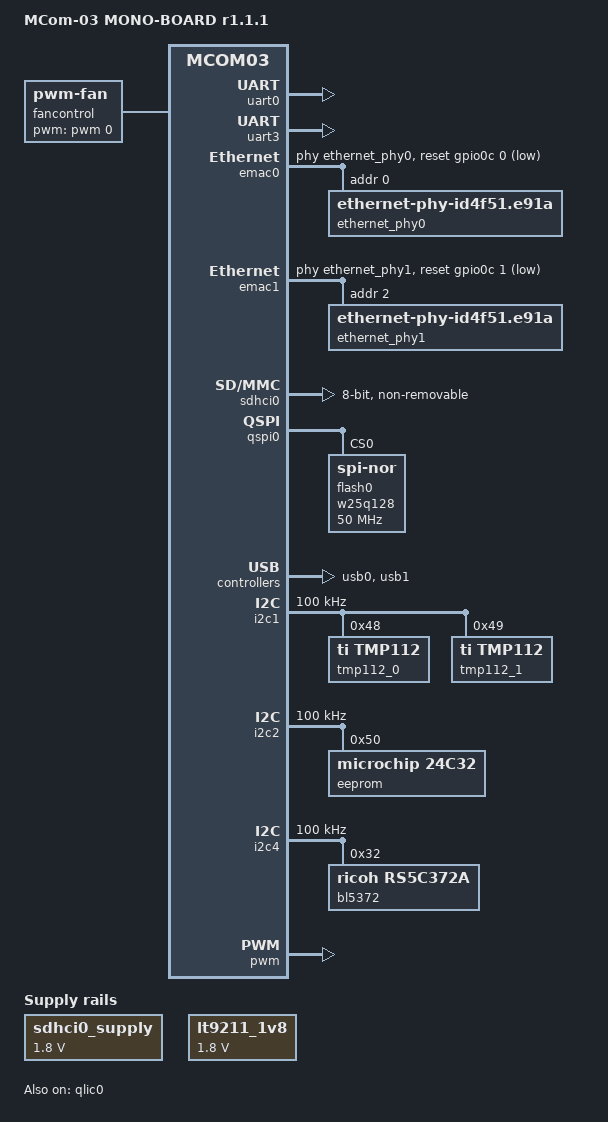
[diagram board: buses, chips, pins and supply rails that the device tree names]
// SPDX-License-Identifier: GPL-2.0+
/*
 * Copyright 2023 RnD Center "ELVEES", JSC
 */

/dts-v1/;

#include <dt-bindings/gpio/gpio.h>
#include <dt-bindings/thermal/thermal.h>

#include "mcom03.dtsi"

/ {
	model = "MCom-03 MONO-BOARD r1.1.1";
	compatible = "elvees,monoboard-r1.1.1",
		     "elvees,monoboard",
		     "elvees,mcom03";

	chosen {
		stdout-path = "serial0:115200n8";
	};

	sdhci0_supply: regulator@00 {
		compatible = "regulator-fixed";
		regulator-name = "sdhci0-supply";
		regulator-min-microvolt = <1800000>;
		regulator-max-microvolt = <1800000>;
		regulator-always-on;
	};

	lt9211_1v8: regulator@01 {
		compatible = "regulator-fixed";
		regulator-name = "rgb-lvds-vcc-1.8v";
		regulator-min-microvolt = <1800000>;
		regulator-max-microvolt = <1800000>;
		regulator-always-on;
	};

	fancontrol: pwm-fan {
		compatible = "pwm-fan";
		pwms = <&pwm 0 40000 0>;
		#cooling-cells = <2>;
		cooling-levels = <0 102 180 230>;
	};

	thermal-zones {
		cpu_thermal: cpu0-thermal {
			thermal-sensors = <&pvt 0>;
			polling-delay-passive = <250>;
			polling-delay = <1000>;

			trips {
				cpu_alert0: cpu-alert-0 {
					temperature = <50000>;
					hysteresis = <1000>;
					type = "active";
				};
			};

			cooling_maps: cooling-maps {
				map0 {
					trip = <&cpu_alert0>;
					cooling-device = <&fancontrol
							  THERMAL_NO_LIMIT
							  THERMAL_NO_LIMIT>;
				};
			};
		};
	};
};

// SER0
&uart0 {
	status = "okay";
};

// SER1 connects to RS-232(XP19)
&uart3 {
	status = "okay";

	pinctrl-names = "default";
	pinctrl-0 = <&uart3_mux_data &uart3_mux_rtscts>;
};

&emac0 {
	status = "okay";
	phy-handle = <&ethernet_phy0>;
	reset-gpios = <&gpio0c 0 GPIO_ACTIVE_LOW>;

	ethernet_phy0: ethernet-phy@0 {
		compatible = "ethernet-phy-id4f51.e91a", "ethernet-phy-ieee802.3-c22";
		reg = <0x0>;

		motorcomm,clk-out-frequency-hz = <0>;
		rx-internal-delay-ps = <1650>;
		tx-internal-delay-ps = <1050>;
	};
};

&emac1 {
	status = "okay";
	phy-handle = <&ethernet_phy1>;
	reset-gpios = <&gpio0c 1 GPIO_ACTIVE_LOW>;

	ethernet_phy1: ethernet-phy@2 {
		compatible = "ethernet-phy-id4f51.e91a", "ethernet-phy-ieee802.3-c22";
		reg = <0x2>;

		motorcomm,clk-out-frequency-hz = <0>;
		rx-internal-delay-ps = <1650>;
		tx-internal-delay-ps = <1350>;
	};
};

&sdhci0 {
	status = "okay";
	non-removable;
	bus-width = <8>;
	vqmmc-supply = <&sdhci0_supply>;
};

&qspi0 {
	status = "okay";

	flash0: w25q128@0 {
		#address-cells = <1>;
		#size-cells = <1>;
		compatible = "jedec,spi-nor", "spi-flash";
		reg = <0x0>;
		/* Highest frequency for "Read Data" command on W25Q128JW.
		 */
		spi-max-frequency = <50000000>;
		m25p,fast-read;
	};
};

// Connected to USB HUB
&usb0 {
	status = "okay";
};

// Connected to USB HUB
&usb1 {
	status = "okay";
};

&gpio0a {
	gpio-line-names = "SDIO_WAKE_#INT", "nSMB_ALERT", "SER1_CTS", "nINT_ETH0",
		"nINT_ETH1", "nINT_RTC", "INT_LVDS", "SER1_RTS";
};

&gpio0b {
	gpio-line-names = "SER1_RX", "SER1_TX", "UART_WAKE#", "nRST_MIPI_LVDS",
		"EMMc_nRST", "SER3_RX", "SER3_TX", "SER2_RX";
};

&gpio0c {
	gpio-line-names = "nRST_ETH1", "nRST_ETH1", "LVDS_nDETECT", "SPIO_SS_IN",
		"LVDS_ENBKL", "PCIeSATA_nRST", "", "SDR_h1v8-l1v5";
};

&gpio0d {
	gpio-line-names = "SER2_TX", "", "", "", "", "", "", "";
};

&gpio1a {
	gpio-line-names = "I2C_GP_CK", "I2C_GP_DAT", "I2C2_SCL", "I2C2_SDA",
		"I2C3_SCL", "I2C3_SDA", "M.2_ALERT#", "INT_HDMI";
};

&gpio1b {
	gpio-line-names = "HDMI_I2S_SCLK", "HDMI_I2S_LRCLK", "HDMI_I2S_D",
		"MIRR_SENS", "LVDS_BL_nEN", "USB_HUB_nRST", "SER0_TX", "SER0_RX";
};

&gpio1c {
	gpio-line-names = "DP_CONV_nRST", "STM_nRST", "HDMI_SPLIT_nRST", "SD_BRIDGE_RST",
		"SDIO_RESET#", "STM_BOOT0", "", "nRST_HDMI";
};

&gpio1d {
	gpio-line-names = "", "LVDS_BL_PWM", "FAN_PWM_1", "FAN_PWM_2",
		"", "PC_SPEAKER", "", "";
};

i2c_gp: &i2c1  {
	status = "okay";
	// not tested to work on 400k
	clock-frequency = <100000>;

	// DA5
	tmp112_0: temperature-sensor@48 {
		compatible = "ti,tmp112";
		reg = <0x48>;
	};

	// DA2
	tmp112_1: temperature-sensor@49 {
		compatible = "ti,tmp112";
		reg = <0x49>;
	};
};

&i2c2 {
	status = "okay";
	// not tested to work on 400k
	clock-frequency = <100000>;

	eeprom@50 {
		compatible = "microchip,24c32", "atmel,24c32";
		reg = <0x50>;
	};

	lt9211: rgb-lvds-bridge@2d {
		compatible = "lontium,lt9211";
		reg = <0x2d>;
		status = "disable";

		reset-gpios = <&gpio0b 3 GPIO_ACTIVE_HIGH>;
		interrupts-extended = <&gpio0a 6 IRQ_TYPE_EDGE_FALLING>; // not used actually

		vccio-supply = <&lt9211_1v8>;
	};
};

&i2c4 {
	status = "okay";
	// Maximum frequency for BL5372
	clock-frequency = <100000>;

	bl5372: rtc@32 {
		compatible = "ricoh,rs5c372a";
		reg = <0x32>;
	};
};

&qlic0 {
	status = "okay";
};

&pwm {
	status = "okay";
	elvees,output-channel = <0 0 0 0>;
	elvees,state-on-disable = <0 0 0 0>;

	pinctrl-names = "default";
	pinctrl-0 = <&pwm_oena0_mux>;
};
